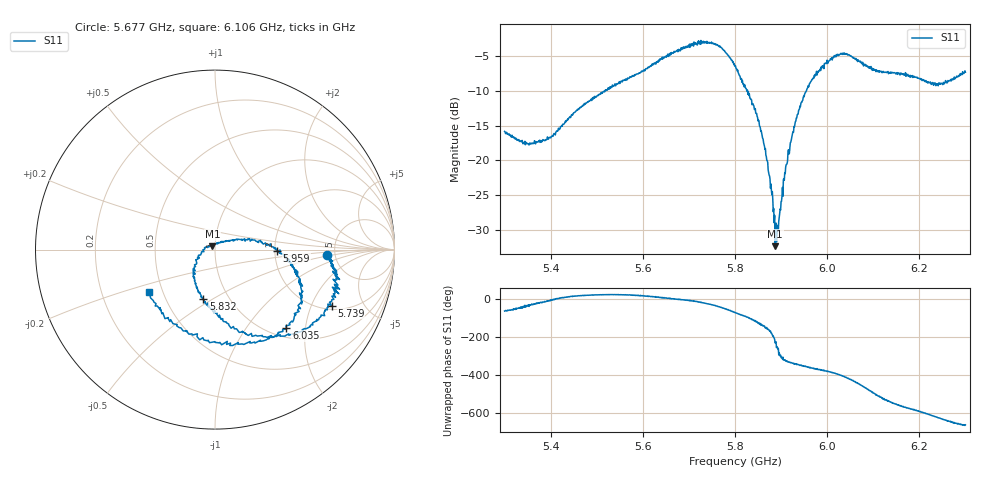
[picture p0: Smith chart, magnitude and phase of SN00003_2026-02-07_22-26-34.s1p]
! NanoVNA-App
! Date: 2026-02-07 22:27:05
! Start: 5.3GHz Stop: 6.3GHz Points: 1001
! S-Parameter data: F S11
# Hz S RI R 50
!  Frequency  S11_Real  S11_Imag
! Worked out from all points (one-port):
!   1001 points, 5.3 GHz to 6.3 GHz, reference 50 ohm
!   lowest |S11| = -32.4 dB at 5.887 GHz (marker M1), VSWR 1.05, Z = 48.5 + j1.85 ohm
!   |S11| at or under -10 dB: start of sweep to 5.518 GHz; 5.82586 GHz to 5.826155 GHz (295.8 kHz wide, 0.00508 % of centre); 5.827 GHz to 5.955 GHz (127.3 MHz wide, 2.16 % of centre)
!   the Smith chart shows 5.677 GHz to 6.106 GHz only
!   S11 on the Smith chart (normalised r, x): 5.677 GHz: 4.31, -0.43; 5.739 GHz: 2.18, -2.84; 5.832 GHz: 0.76, -0.46; 5.959 GHz: 2.06, -0.03; 6.035 GHz: 1.17, -1.58; 6.106 GHz: 0.42, -0.25
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5.3e9  0.0696 -0.1461
5.357e9  0.1117 -0.069
5.425e9  0.175 0.0217
5.55e9  0.3329 0.1329
5.618e9  0.467 0.0969
5.675e9  0.6232 -0.0344
5.677e9  0.6258 -0.0303
5.716e9  0.6729 -0.1695
5.739e9  0.6498 -0.3125
5.773e9  0.4207 -0.4737
5.8e9  0.1562 -0.458
5.832e9  -0.0653 -0.2773
5.849e9  -0.1119 -0.1708
5.866e9  -0.1074 -0.057
5.887e9  -0.0148 0.019
5.895e9  0.0159 0.0329
5.91e9  0.0762 0.0471
5.925e9  0.1471 0.0555
5.959e9  0.3459 -0.0057
6.005e9  0.4786 -0.2127
6.035e9  0.3978 -0.4372
6.05e9  0.25 -0.5102
6.077e9  -0.0852 -0.5025
6.106e9  -0.3663 -0.2367
6.135e9  -0.4285 0.000526
6.175e9  -0.3451 0.2343
6.241e9  -0.0237 0.3444
6.3e9  0.2386 0.3606
